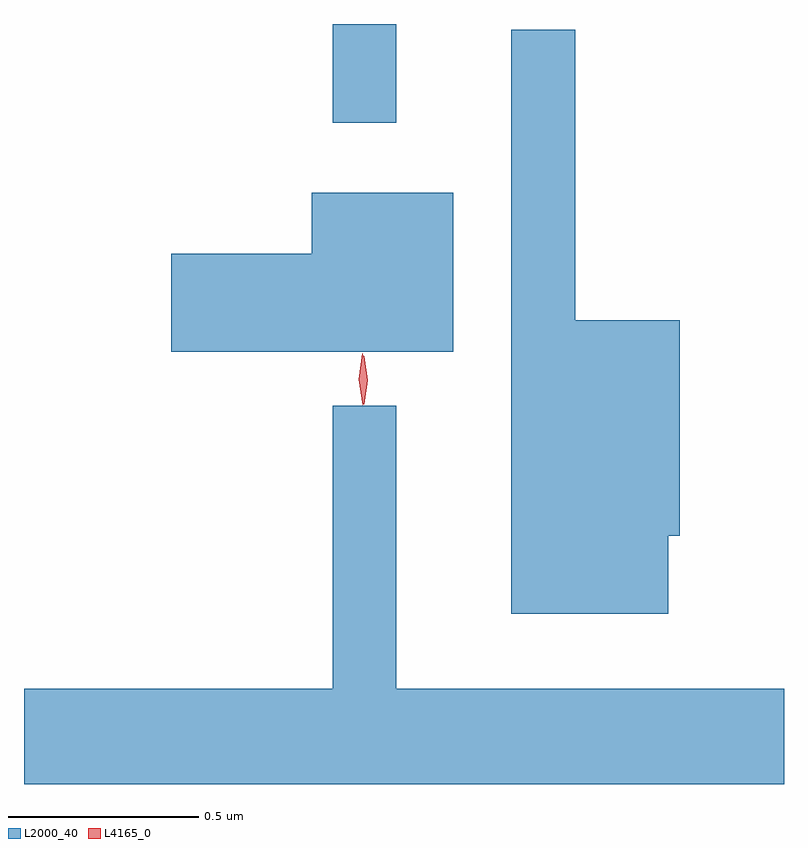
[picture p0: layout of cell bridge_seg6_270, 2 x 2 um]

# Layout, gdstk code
import gdstk
lib = gdstk.Library(unit=1e-6, precision=1e-09)
def R(c, l, rs):  # rectangles x0, y0, x1, y1
    for r in rs: c.add(gdstk.rectangle(r[:2], r[2:], *l))
def P(c, l, *ps):  # polygons
    for p in ps: c.add(gdstk.Polygon(p, *l))
L2000_40 = (2000, 40)
L4165_0 = (4165, 0)

bridge_seg6_270 = lib.new_cell('bridge_seg6_270')
R(bridge_seg6_270, L2000_40, [(1263.561,1569.553,1263.729,1569.813)])
P(bridge_seg6_270, L2000_40, [(1264.444,1568.466),(1264.474,1568.466),(1264.474,1569.034),(1264.199,1569.034),(1264.199,1569.798),(1264.031,1569.798),(1264.031,1568.261),(1264.444,1568.261)],
  [(1263.879,1569.369),(1263.506,1569.369),(1263.506,1569.209),(1263.136,1569.209),(1263.136,1568.951),(1263.879,1568.951)],
  [(1264.749,1568.064),(1263.729,1568.064),(1263.729,1568.808),(1263.561,1568.808),(1263.561,1568.064),(1262.749,1568.064),(1262.749,1567.813),(1264.749,1567.813)])
P(bridge_seg6_270, L4165_0, [(1263.642,1568.813),(1263.633,1568.876),(1263.642,1568.939),(1263.643,1568.94),(1263.644,1568.939),(1263.653,1568.876),(1263.644,1568.813),(1263.643,1568.813)],
  [(1263.64,1568.81),(1263.63,1568.878),(1263.639,1568.945),(1263.64,1568.946),(1263.64,1568.945),(1263.65,1568.878),(1263.641,1568.81),(1263.641,1568.81)])

lib.write_gds('bridge_seg6_270.gds')
